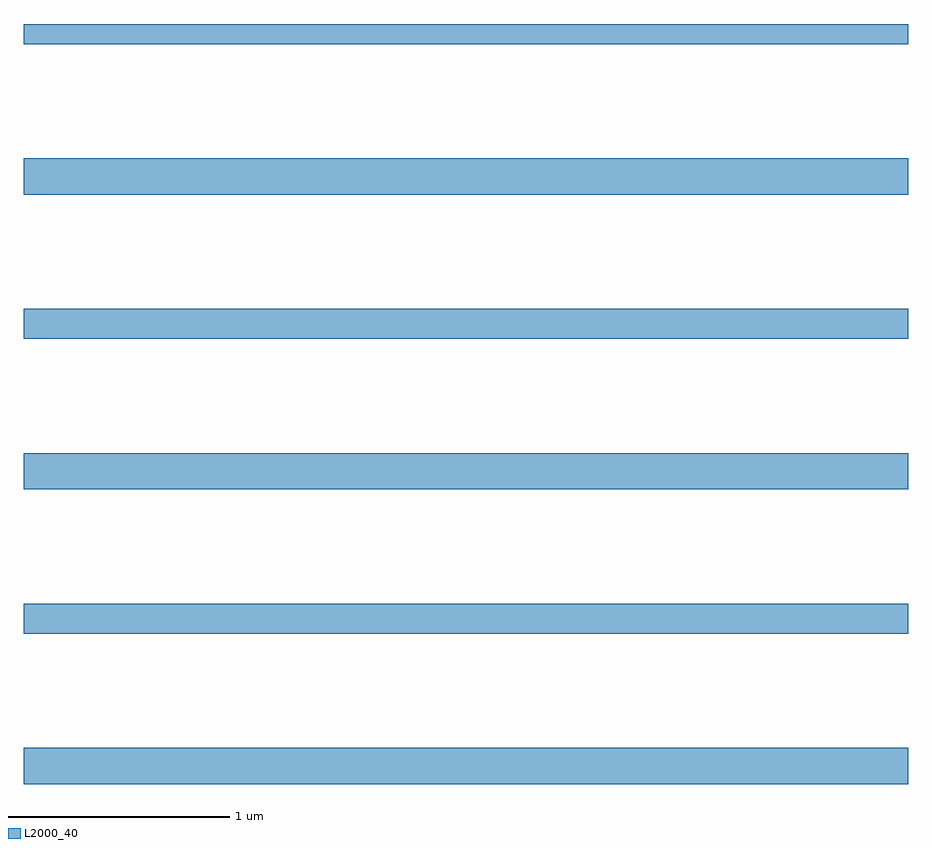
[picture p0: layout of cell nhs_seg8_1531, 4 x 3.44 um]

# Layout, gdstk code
import gdstk
lib = gdstk.Library(unit=1e-6, precision=1e-09)
def R(c, l, rs):  # rectangles x0, y0, x1, y1
    for r in rs: c.add(gdstk.rectangle(r[:2], r[2:], *l))
def A(c, l, x, y, w, h, nx, ny, dx, dy):  # array of equal rectangles
    R(c, l, [(x+i*dx, y+j*dy, x+i*dx+w, y+j*dy+h) for i in range(nx) for j in range(ny)])
L2000_40 = (2000, 40)

nhs_seg8_1531 = lib.new_cell('nhs_seg8_1531')
A(nhs_seg8_1531, L2000_40, 207, 1152.464, 4, 0.164, 1, 3, 0, 1.332)
R(nhs_seg8_1531, L2000_40, [(207,1153.144,211,1153.28), (207,1154.476,211,1154.612), (207,1155.808,211,1155.9)])

lib.write_gds('nhs_seg8_1531.gds')
